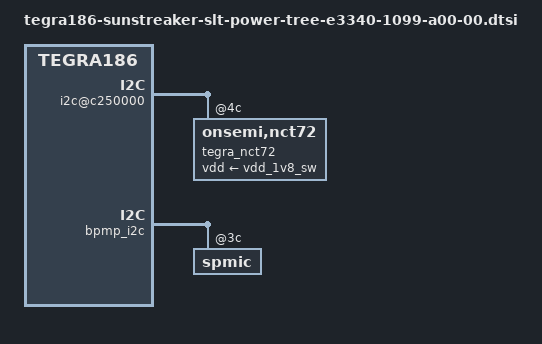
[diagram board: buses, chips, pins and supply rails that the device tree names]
/*
 * Copyright (c) 2015-2016, NVIDIA CORPORATION.  All rights reserved.
 *
 * This program is free software; you can redistribute it and/or modify
 * it under the terms of the GNU General Public License as published by
 * the Free Software Foundation; either version 2 of the License, or
 * (at your option) any later version.
 *
 * This program is distributed in the hope that it will be useful, but WITHOUT
 * ANY WARRANTY; without even the implied warranty of MERCHANTABILITY or
 * FITNESS FOR A PARTICULAR PURPOSE.  See the GNU General Public License for
 * more details.
 *
 */

#include "tegra186-sunsteaker-slt-spmic-e3340-1099-a00-00.dtsi"
#include "tegra186-sunsteaker-slt-fixed-e3340-1099-a00-00.dtsi"
#include "tegra186-cvb-slt-p2598-a00-e3340-1099-a00-00.dtsi"

/ {
	ether_qos@2490000 {
		vddio_sys_enet_bias-supply = <&spmic_sd2>;
		vddio_enet-supply = <&spmic_sd3>;
		phy_vdd_1v8-supply = <&spmic_sd2>;
		phy_ovdd_rgmii-supply = <&spmic_sd3>;
		phy_pllvdd-supply = <&spmic_sd1>;
	};

        host1x {
		nvdisplay@15200000 {
			avdd_lcd-supply = <&vdd_dis_3v3_lcd>;
			dvdd_lcd-supply = <&vdd_lcd_1v8_dis>;
			avdd_dsi_csi-supply = <&spmic_sd1>;
                        avdd_hdmi-supply = <&spmic_ldo7>;
                        avdd_hdmi_pll-supply = <&spmic_sd2>;
                        vdd_hdmi_5v0-supply = <&vdd_hdmi0_5v0>;
		};
                nvdisplay@15210000 {
                        avdd_hdmi-supply = <&spmic_ldo7>;
                        avdd_hdmi_pll-supply = <&spmic_sd2>;
                        vdd_hdmi_5v0-supply = <&vdd_hdmi0_5v0>;
                };
	};

	sdhci@3460000 {
		vddio_sdmmc-supply = <&spmic_sd2>;
		vddio_sd_slot-supply = <&spmic_sd3>;
		vqmmc-supply = <&spmic_sd2>;
		vmmc-supply = <&spmic_sd3>;
	};

	sdhci@3440000 {
		vddio_sdmmc-supply = <&spmic_ldo5>;
		vddio_sd_slot-supply = <&vdd_sdcard1_3v3>;
		vqmmc-supply = <&spmic_ldo5>;
		vmmc-supply = <&vdd_sdcard1_3v3>;
	};

	sdhci@3420000 {
		vddio_sdmmc-supply = <&spmic_sd2>;
		vddio_sd_slot-supply = <&spmic_ldo6>;
		vqmmc-supply = <&spmic_sd2>;
		vmmc-supply = <&spmic_ldo6>;
	};

	sdhci@3400000 {
		vddio_sdmmc-supply = <&spmic_ldo3>;
		vddio_sd_slot-supply = <&vdd_sdcard1_3v3>;
		vqmmc-supply = <&spmic_ldo3>;
		vmmc-supply = <&vdd_sdcard1_3v3>;
	};

	ahci-sata@3507000 {
		target-3v3-supply = <&vdd_3v3_sata>;
	};

	xhci@3530000 {
		avddio_usb-supply = <&spmic_sd3>;
		avdd_pll_utmip-supply = <&spmic_ldo0>;
		hvdd_usb-supply =  <&vdd_1v8_sw>;
	};

	xudc@3550000 {
		avdd-usb-supply = <&spmic_sd3>;
		dvdd-pex-supply = <&spmic_ldo7>;
		hvdd-pex-supply =  <&vdd_1v8_sw>;
		dvdd-pex-pll-supply = <&spmic_ldo7>;
		hvdd-pex-pll-supply = <&vdd_1v8_sw>;
	};

	pinctrl@3520000 {
		vbus-0-supply = <&vdd_usb0_5v>;
		vbus-1-supply = <&vdd_usb1_5v>;
		vbus-2-supply = <&vdd_usb2_5v>;
		vbus-3-supply = <&battery_reg>;
		vddio-hsic-supply = <&spmic_sd1>;
		hvdd_pex_pll-supply = <&vdd_1v8_sw>;
		hvdd_pex-supply = <&vdd_1v8_sw>;
		dvdd_pex-supply = <&spmic_ldo7>;
		avdd_usb-supply = <&spmic_sd3>;
		vclamp_usb-supply = <&vdd_1v8_sw>;
		avdd_pll_erefeut-supply = <&spmic_ldo0>;
	};

	pcie-controller@10003000 {
		dvdd-pex-supply = <&spmic_ldo7>;
		hvdd-pex-pll-supply = <&spmic_sd2>;
		hvdd-pex-supply = <&spmic_sd2>;
		vddio-pexctl-aud-supply = <&spmic_sd2>;
	};

	pmc-iopower {
		iopower-sys-supply = <&spmic_ldo6>;
		iopower-uart-supply = <&vdd_1v8_sw>;
		iopower-conn-supply = <&vdd_1v8_sw>;
		iopower-edp-supply = <&vdd_1v8_sw>;
		iopower-pex-ctrl-audio-supply = <&vdd_1v8_sw>;
		iopower-ufs-supply = <&spmic_sd1>;
		iopower-ddr0-supply = <&spmic_sd0>;
		iopower-ddr1-supply = <&spmic_sd0>;
		iopower-csi-dsi-supply = <&spmic_sd1>;
		iopower-cam-supply = <&vdd_1v8_sw>;
		iopower-sdmmc4-supply = <&vdd_1v8_sw>;
		iopower-sdmmc1-hv-supply = <&spmic_ldo3>;
		iopower-audio-hv-supply = <&spmic_sd3>;
		iopower-dbg-supply = <&spmic_ldo6>;
		iopower-spi-supply = <&vdd_1v8_sw>;
		iopower-ao-supply = <&spmic_ldo6>;
		iopower-ao-hv-supply = <&spmic_ldo2>;
		iopower-dmic-hv-supply =  <&spmic_sd3>;
		iopower-sdmmc2-hv-supply = <&spmic_sd3>;
		iopower-sdmmc3-hv-supply =  <&spmic_ldo5>;
	};

	i2c@c250000 {
		tegra_nct72: onsemi,nct72@4c {
			vdd-supply = <&vdd_1v8_sw>;
		};
	};

	bpmp_i2c {
		spmic@3c {

			pinmux@0 {
				pin_gpio1 {
					maxim,active-fps-power-up-slot = <7>;
					maxim,active-fps-power-down-slot = <0>;
				};

				pin_gpio2 {
					maxim,active-fps-power-up-slot = <0>;
					maxim,active-fps-power-down-slot = <1>;
				};

				pin_gpio3 {
					maxim,active-fps-power-up-slot = <1>;
					maxim,active-fps-power-down-slot = <7>;
				};
			};

			regulators {
				sd0 {
					maxim,active-fps-source = <MAX77620_FPS_SRC_0>;
					maxim,active-fps-power-up-slot = <5>;
					maxim,active-fps-power-down-slot = <1>;
					regulator-enable-ramp-delay = <220>;
					regulator-disable-ramp-delay = <11000>;
					regulator-ramp-delay = <27500>;
					regulator-ramp-delay-scale = <550>;
				};

				sd1 {
					maxim,active-fps-source = <MAX77620_FPS_SRC_1>;
					maxim,active-fps-power-up-slot = <2>;
					maxim,active-fps-power-down-slot = <3>;
					regulator-enable-ramp-delay = <235>;
					regulator-disable-ramp-delay = <6000>;
					regulator-ramp-delay = <27500>;
					regulator-ramp-delay-scale = <550>;
				};

				sd2 {
					maxim,active-fps-source = <MAX77620_FPS_SRC_0>;
					maxim,active-fps-power-up-slot = <3>;
					maxim,active-fps-power-down-slot = <4>;
					regulator-enable-ramp-delay = <370>;
					regulator-disable-ramp-delay = <11000>;
					regulator-ramp-delay = <27500>;
					regulator-ramp-delay-scale = <600>;
				};

				sd3 {
					maxim,active-fps-source = <MAX77620_FPS_SRC_1>;
					maxim,active-fps-power-up-slot = <5>;
					maxim,active-fps-power-down-slot = <2>;
					regulator-enable-ramp-delay = <400>;
					regulator-disable-ramp-delay = <16000>;
					regulator-ramp-delay = <27500>;
					regulator-ramp-delay-scale = <350>;
				};

				ldo0 {
					maxim,active-fps-source = <MAX77620_FPS_SRC_1>;
					maxim,active-fps-power-up-slot = <3>;
					maxim,active-fps-power-down-slot = <4>;
					regulator-enable-ramp-delay = <1000>;
					regulator-disable-ramp-delay = <16000>;
					regulator-ramp-delay = <5000>;
					regulator-ramp-delay-scale = <350>;
				};

				ldo1 {
					maxim,active-fps-power-up-slot = <0>;
					maxim,active-fps-power-down-slot = <7>;
					regulator-ramp-delay = <5000>;
				};

				ldo2 {
					maxim,active-fps-source = <MAX77620_FPS_SRC_0>;
					maxim,active-fps-power-up-slot = <5>;
					maxim,active-fps-power-down-slot = <2>;
					regulator-enable-ramp-delay = <1900>;
					regulator-disable-ramp-delay = <9000>;
					regulator-ramp-delay = <5000>;
					regulator-ramp-delay-scale = <300>;
				};

				ldo3 {
					maxim,active-fps-power-up-slot = <7>;
					maxim,active-fps-power-down-slot = <0>;
					regulator-enable-ramp-delay = <1900>;
					regulator-disable-ramp-delay = <5000>;
					regulator-ramp-delay = <5000>;
					regulator-ramp-delay-scale = <300>;
				};

				ldo4 {
					maxim,active-fps-source = <MAX77620_FPS_SRC_0>;
					maxim,active-fps-power-up-slot = <0>;
					maxim,active-fps-power-down-slot = <7>;
					regulator-enable-ramp-delay = <23>;
					regulator-disable-ramp-delay = <4000>;
					regulator-ramp-delay = <100000>;
					regulator-ramp-delay-scale = <250>;
				};

				ldo5 {
					maxim,active-fps-power-up-slot = <7>;
					maxim,active-fps-power-down-slot = <0>;
					regulator-enable-ramp-delay = <2000>;
					regulator-disable-ramp-delay = <9000>;
					regulator-ramp-delay = <5000>;
					regulator-ramp-delay-scale = <350>;
				};

				ldo6 {
					maxim,active-fps-source = <MAX77620_FPS_SRC_0>;
					maxim,active-fps-power-up-slot = <2>;
					maxim,active-fps-power-down-slot = <5>;
					regulator-enable-ramp-delay = <1100>;
					regulator-disable-ramp-delay = <19000>;
					regulator-ramp-delay = <5000>;
					regulator-ramp-delay-scale = <350>;
				};

				ldo7 {
					maxim,active-fps-source = <MAX77620_FPS_SRC_1>;
					maxim,active-fps-power-up-slot = <4>;
					maxim,active-fps-power-down-slot = <3>;
					regulator-enable-ramp-delay = <570>;
					regulator-disable-ramp-delay = <11000>;
					regulator-ramp-delay = <5000>;
					regulator-ramp-delay-scale = <300>;
				};

				ldo8 {
					maxim,active-fps-power-up-slot = <0>;
					maxim,active-fps-power-down-slot = <7>;
					regulator-ramp-delay = <5000>;
				};
			};
		};
	};

	fixed-regulators {

		regulator@2 {
			regulator-enable-ramp-delay = <4000>;
			regulator-disable-ramp-delay = <10000>;
		};

		regulator@3 {
			regulator-enable-ramp-delay = <425>;
			regulator-disable-ramp-delay = <27000>;
		};

		regulator@4 {
			regulator-enable-ramp-delay = <1100>;
			regulator-disable-ramp-delay = <1900>;
		};

		regulator@5 {
			regulator-enable-ramp-delay = <1350>;
		};

		regulator@6 {
			regulator-enable-ramp-delay = <1300>;
		};

		regulator@7 {
			regulator-enable-ramp-delay = <350>;
			regulator-disable-ramp-delay = <7500>;
		};

		regulator@9 {
			regulator-enable-ramp-delay = <255>;
			regulator-disable-ramp-delay = <99>;
		};

		regulator@13 {
			regulator-enable-ramp-delay = <3450>;
			regulator-disable-ramp-delay = <3500>;
		};

		regulator@14 {
			regulator-enable-ramp-delay = <3300>;
			regulator-disable-ramp-delay = <17000>;
		};
	};
};
